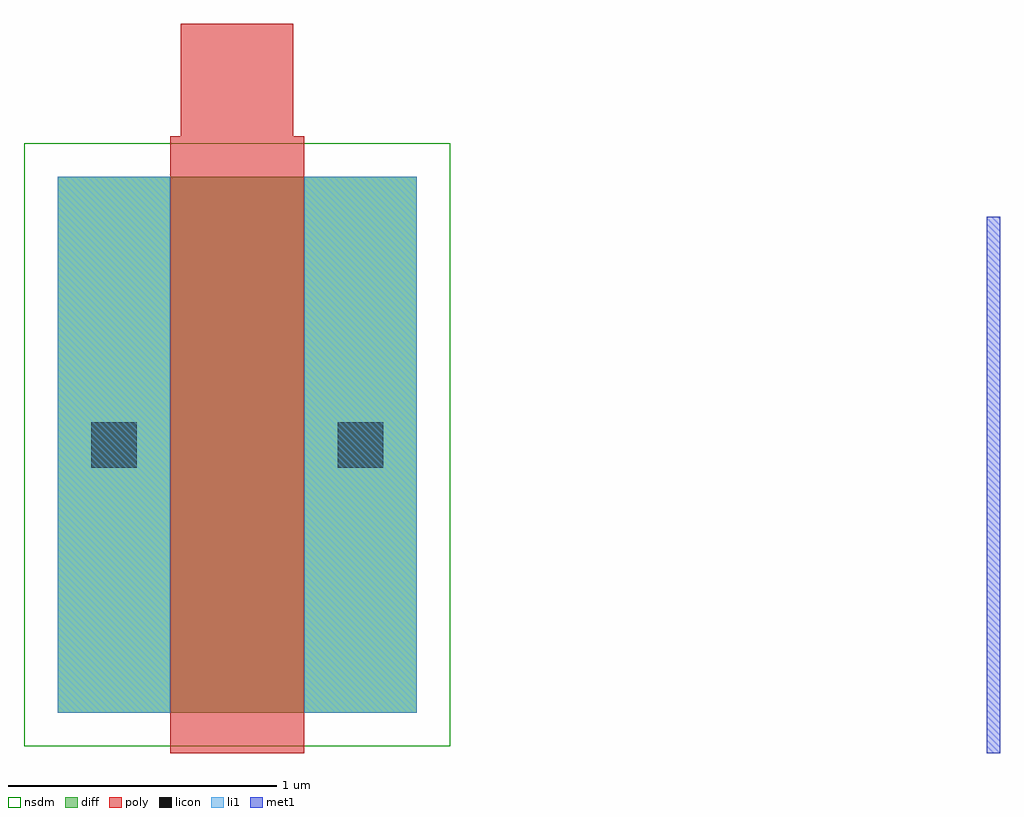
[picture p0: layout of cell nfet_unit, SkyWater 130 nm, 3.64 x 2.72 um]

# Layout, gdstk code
import gdstk
lib = gdstk.Library(unit=1e-6, precision=1e-09)
def R(c, l, rs):  # rectangles x0, y0, x1, y1
    for r in rs: c.add(gdstk.rectangle(r[:2], r[2:], *l))
diff = (65, 20)
poly = (66, 20)
licon = (66, 44)
li1 = (67, 20)
met1 = (68, 20)
nsdm = (93, 44)

mos_array = lib.new_cell('mos_array')
R(mos_array, diff, [(0,0,1.34,2)])
R(mos_array, poly, [(0.42,-0.15,0.92,2), (0.42,2,0.92,2.15), (0.42,2,0.92,2.15), (0.46,2.15,0.88,2.57)])
R(mos_array, licon, [(0.125,0.915,0.295,1.085), (1.045,0.915,1.215,1.085)])
R(mos_array, li1, [(0,0,0.42,2), (0.92,0,1.34,2)])
R(mos_array, nsdm, [(-0.125,-0.125,1.465,2.125)])

nfet_unit = lib.new_cell('nfet_unit')
R(nfet_unit, met1, [(3.465,-0.15,3.515,1.85)])
nfet_unit.add(gdstk.Reference(mos_array, (0,0)))

lib.write_gds('nfet_unit.gds')
